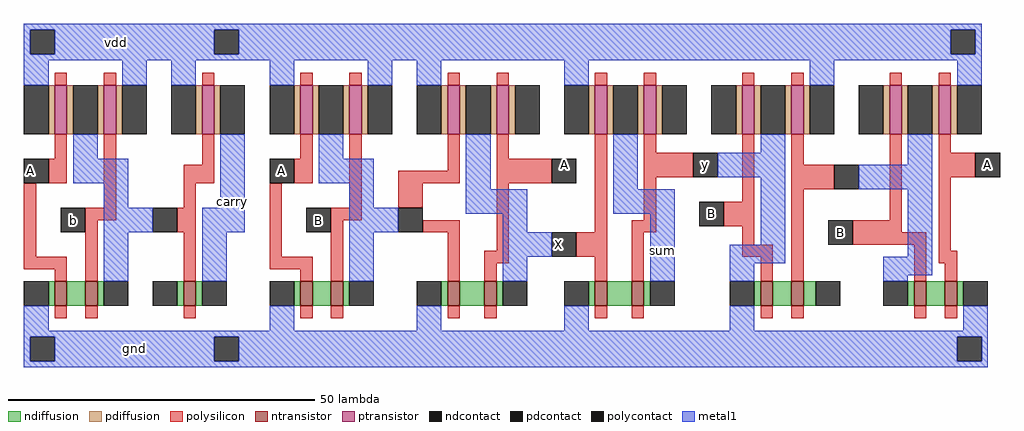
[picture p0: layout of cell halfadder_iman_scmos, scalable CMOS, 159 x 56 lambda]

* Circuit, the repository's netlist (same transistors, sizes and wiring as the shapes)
* SPICE3 file created from halfadder_iman_scmos.ext - technology: scmos

.option scale=1u
* Simple MOSFET Models for SCMOS
.model nfet NMOS (LEVEL=1 VTO=0.7 KP=50u LAMBDA=0.02)
.model pfet PMOS (LEVEL=1 VTO=-0.7 KP=20u LAMBDA=0.02)
M1000 vdd a_112_n39# gnd Vdd pfet w=8 l=2
+  ad=40p pd=26u as=24p ps=14u
M1001 X A a_58_n37# Gnd nfet w=4 l=2
+  ad=20p pd=18u as=8p ps=8u
M1002 gnd A a_134_n37# Gnd nfet w=4 l=2
+  ad=20p pd=18u as=6p ps=7u
M1003 X a_34_n9# vdd Vdd pfet w=8 l=2
+  ad=24p pd=14u as=40p ps=26u
M1004 a_82_n37# X gnd Gnd nfet w=4 l=2
+  ad=8p pd=8u as=20p ps=18u
M1005 a_134_n37# B a_112_n39# Gnd nfet w=4 l=2
+  ad=6p pd=7u as=20p ps=18u
M1006 vdd B a_34_n9# Vdd pfet w=8 l=2
+  ad=40p pd=26u as=24p ps=14u
M1007 a_n6_n37# A gnd Gnd nfet w=4 l=2
+  ad=6p pd=7u as=20p ps=18u
M1008 vdd A a_112_n39# Vdd pfet w=8 l=2
+  ad=40p pd=26u as=24p ps=14u
M1009 sum gnd a_82_n37# Gnd nfet w=4 l=2
+  ad=20p pd=18u as=8p ps=8u
M1010 a_n6_n9# B a_n6_n37# Gnd nfet w=4 l=2
+  ad=20p pd=18u as=6p ps=7u
M1011 a_66_n9# A X Vdd pfet w=8 l=2
+  ad=40p pd=26u as=24p ps=14u
M1012 carry a_n6_n9# vdd Vdd pfet w=8 l=2
+  ad=40p pd=26u as=40p ps=26u
M1013 carry a_n6_n9# a_8_n37# Gnd nfet w=4 l=2
+  ad=20p pd=18u as=20p ps=18u
M1014 a_90_n9# gnd sum Vdd pfet w=8 l=2
+  ad=40p pd=26u as=24p ps=14u
M1015 a_114_n37# a_112_n39# a_109_n37# Gnd nfet w=4 l=2
+  ad=24p pd=20u as=6p ps=7u
M1016 a_n6_n9# A vdd Vdd pfet w=8 l=2
+  ad=24p pd=14u as=40p ps=26u
M1017 a_34_n9# B a_34_n37# Gnd nfet w=4 l=2
+  ad=20p pd=18u as=6p ps=7u
M1018 gnd B a_99_n9# Vdd pfet w=8 l=2
+  ad=24p pd=14u as=40p ps=26u
M1019 a_34_n37# A gnd Gnd nfet w=4 l=2
+  ad=6p pd=7u as=20p ps=18u
M1020 a_109_n37# B gnd Gnd nfet w=4 l=2
+  ad=6p pd=7u as=20p ps=18u
M1021 vdd B a_n6_n9# Vdd pfet w=8 l=2
+  ad=40p pd=26u as=24p ps=14u
M1022 sum X vdd Vdd pfet w=8 l=2
+  ad=24p pd=14u as=40p ps=26u
M1023 a_34_n9# A vdd Vdd pfet w=8 l=2
+  ad=24p pd=14u as=40p ps=26u
M1024 a_112_n39# B a_123_n9# Vdd pfet w=8 l=2
+  ad=24p pd=14u as=40p ps=26u
M1025 a_58_n37# a_34_n9# gnd Gnd nfet w=4 l=2
+  ad=8p pd=8u as=20p ps=18u

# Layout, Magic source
magic
tech scmos
<< polysilicon >>
rect -8 -1 -6 1
rect 0 -1 2 1
rect 16 -1 18 1
rect 32 -1 34 1
rect 40 -1 42 1
rect 56 -1 58 1
rect 64 -1 66 1
rect 80 -1 82 1
rect 88 -1 90 1
rect 104 -1 106 1
rect 112 -1 114 1
rect 128 -1 130 1
rect 136 -1 138 1
rect -8 -13 -6 -9
rect -9 -17 -6 -13
rect -13 -29 -11 -17
rect 0 -21 2 -9
rect 16 -14 18 -9
rect 32 -13 34 -9
rect 13 -17 18 -14
rect 31 -17 34 -13
rect 13 -21 15 -17
rect -3 -23 2 -21
rect -13 -31 -6 -29
rect -8 -33 -6 -31
rect -3 -33 -1 -23
rect 12 -25 15 -21
rect 13 -33 15 -25
rect 27 -29 29 -17
rect 40 -21 42 -9
rect 56 -15 58 -9
rect 37 -23 42 -21
rect 48 -17 58 -15
rect 64 -13 66 -9
rect 64 -17 73 -13
rect 48 -21 52 -17
rect 27 -31 34 -29
rect 32 -33 34 -31
rect 37 -33 39 -23
rect 52 -25 58 -23
rect 56 -33 58 -25
rect 64 -28 66 -17
rect 80 -25 82 -9
rect 88 -12 90 -9
rect 88 -16 96 -12
rect 88 -23 90 -16
rect 104 -20 106 -9
rect 62 -30 66 -28
rect 77 -29 82 -25
rect 62 -33 64 -30
rect 80 -33 82 -29
rect 86 -25 90 -23
rect 101 -24 106 -20
rect 86 -33 88 -25
rect 104 -27 106 -24
rect 112 -14 114 -9
rect 112 -18 119 -14
rect 104 -29 109 -27
rect 107 -33 109 -29
rect 112 -33 114 -18
rect 128 -23 130 -9
rect 122 -25 130 -23
rect 136 -12 138 -9
rect 136 -16 142 -12
rect 122 -27 134 -25
rect 132 -33 134 -27
rect 136 -28 138 -16
rect 136 -30 139 -28
rect 137 -33 139 -30
rect -8 -39 -6 -37
rect -3 -39 -1 -37
rect 13 -39 15 -37
rect 32 -39 34 -37
rect 37 -39 39 -37
rect 56 -39 58 -37
rect 62 -39 64 -37
rect 80 -39 82 -37
rect 86 -39 88 -37
rect 107 -39 109 -37
rect 112 -39 114 -37
rect 132 -39 134 -37
rect 137 -39 139 -37
<< ndiffusion >>
rect -9 -37 -8 -33
rect -6 -37 -3 -33
rect -1 -37 0 -33
rect 12 -37 13 -33
rect 15 -37 16 -33
rect 31 -37 32 -33
rect 34 -37 37 -33
rect 39 -37 40 -33
rect 55 -37 56 -33
rect 58 -37 62 -33
rect 64 -37 65 -33
rect 79 -37 80 -33
rect 82 -37 86 -33
rect 88 -37 89 -33
rect 106 -37 107 -33
rect 109 -37 112 -33
rect 114 -37 116 -33
rect 131 -37 132 -33
rect 134 -37 137 -33
rect 139 -37 140 -33
<< pdiffusion >>
rect -9 -9 -8 -1
rect -6 -9 -5 -1
rect -1 -9 0 -1
rect 2 -9 3 -1
rect 15 -9 16 -1
rect 18 -9 19 -1
rect 31 -9 32 -1
rect 34 -9 35 -1
rect 39 -9 40 -1
rect 42 -9 43 -1
rect 55 -9 56 -1
rect 58 -9 59 -1
rect 63 -9 64 -1
rect 66 -9 67 -1
rect 79 -9 80 -1
rect 82 -9 83 -1
rect 87 -9 88 -1
rect 90 -9 91 -1
rect 103 -9 104 -1
rect 106 -9 107 -1
rect 111 -9 112 -1
rect 114 -9 115 -1
rect 127 -9 128 -1
rect 130 -9 131 -1
rect 135 -9 136 -1
rect 138 -9 139 -1
<< metal1 >>
rect -13 8 143 9
rect -13 4 -12 8
rect -8 4 18 8
rect 22 4 138 8
rect 142 4 143 8
rect -13 3 143 4
rect -13 -1 -9 3
rect 3 -1 7 3
rect 11 -1 15 3
rect 27 -1 31 3
rect 43 -1 47 3
rect 51 -1 55 3
rect 75 -1 79 3
rect 115 -1 119 3
rect 139 -1 143 3
rect -5 -13 -1 -9
rect -5 -17 4 -13
rect 0 -21 4 -17
rect 19 -21 23 -9
rect 35 -13 39 -9
rect 35 -17 44 -13
rect 40 -21 44 -17
rect 59 -18 63 -9
rect 83 -18 87 -9
rect 107 -12 111 -9
rect 100 -16 111 -12
rect 131 -14 135 -9
rect 0 -25 8 -21
rect 16 -25 23 -21
rect 40 -25 48 -21
rect 59 -22 69 -18
rect 83 -22 93 -18
rect 65 -25 69 -22
rect 0 -33 4 -25
rect 16 -33 20 -25
rect 40 -33 44 -25
rect 65 -29 73 -25
rect 65 -33 69 -29
rect 89 -33 93 -22
rect 107 -27 111 -16
rect 123 -18 135 -14
rect 102 -30 111 -27
rect 131 -29 135 -18
rect 102 -33 106 -30
rect 127 -32 135 -29
rect 127 -33 131 -32
rect -13 -41 -9 -37
rect 27 -41 31 -37
rect 51 -41 55 -37
rect 75 -41 79 -37
rect 102 -41 106 -37
rect 140 -41 144 -37
rect -13 -42 144 -41
rect -13 -46 -12 -42
rect -8 -46 18 -42
rect 22 -46 139 -42
rect 143 -46 144 -42
rect -13 -47 144 -46
<< ntransistor >>
rect -8 -37 -6 -33
rect -3 -37 -1 -33
rect 13 -37 15 -33
rect 32 -37 34 -33
rect 37 -37 39 -33
rect 56 -37 58 -33
rect 62 -37 64 -33
rect 80 -37 82 -33
rect 86 -37 88 -33
rect 107 -37 109 -33
rect 112 -37 114 -33
rect 132 -37 134 -33
rect 137 -37 139 -33
<< ptransistor >>
rect -8 -9 -6 -1
rect 0 -9 2 -1
rect 16 -9 18 -1
rect 32 -9 34 -1
rect 40 -9 42 -1
rect 56 -9 58 -1
rect 64 -9 66 -1
rect 80 -9 82 -1
rect 88 -9 90 -1
rect 104 -9 106 -1
rect 112 -9 114 -1
rect 128 -9 130 -1
rect 136 -9 138 -1
<< polycontact >>
rect -13 -17 -9 -13
rect 27 -17 31 -13
rect -7 -25 -3 -21
rect 8 -25 12 -21
rect 33 -25 37 -21
rect 73 -17 77 -13
rect 48 -25 52 -21
rect 96 -16 100 -12
rect 73 -29 77 -25
rect 97 -24 101 -20
rect 119 -18 123 -14
rect 118 -27 122 -23
rect 142 -16 146 -12
<< ndcontact >>
rect -13 -37 -9 -33
rect 0 -37 4 -33
rect 8 -37 12 -33
rect 16 -37 20 -33
rect 27 -37 31 -33
rect 40 -37 44 -33
rect 51 -37 55 -33
rect 65 -37 69 -33
rect 75 -37 79 -33
rect 89 -37 93 -33
rect 102 -37 106 -33
rect 116 -37 120 -33
rect 127 -37 131 -33
rect 140 -37 144 -33
rect -12 -46 -8 -42
rect 18 -46 22 -42
rect 139 -46 143 -42
<< pdcontact >>
rect -12 4 -8 8
rect 18 4 22 8
rect 138 4 142 8
rect -13 -9 -9 -1
rect -5 -9 -1 -1
rect 3 -9 7 -1
rect 11 -9 15 -1
rect 19 -9 23 -1
rect 27 -9 31 -1
rect 35 -9 39 -1
rect 43 -9 47 -1
rect 51 -9 55 -1
rect 59 -9 63 -1
rect 67 -9 71 -1
rect 75 -9 79 -1
rect 83 -9 87 -1
rect 91 -9 95 -1
rect 99 -9 103 -1
rect 107 -9 111 -1
rect 115 -9 119 -1
rect 123 -9 127 -1
rect 131 -9 135 -1
rect 139 -9 143 -1
<< labels >>
rlabel metal1 2 6 2 6 5 vdd
rlabel metal1 5 -44 5 -44 1 gnd
rlabel polycontact -12 -15 -12 -15 3 A
rlabel polycontact -5 -23 -5 -23 1 b
rlabel metal1 21 -20 21 -20 7 carry
rlabel polycontact 29 -15 29 -15 1 A
rlabel polycontact 35 -23 35 -23 1 B
rlabel polycontact 35 -23 35 -23 1 b
rlabel polycontact 75 -14 75 -14 7 A
rlabel polycontact 74 -27 74 -27 7 X
rlabel polycontact 98 -14 98 -14 7 y
rlabel metal1 91 -28 91 -28 1 sum
rlabel polycontact 99 -22 99 -22 1 B
rlabel polycontact 120 -25 120 -25 1 B
rlabel polycontact 144 -14 144 -14 7 A
<< end >>
